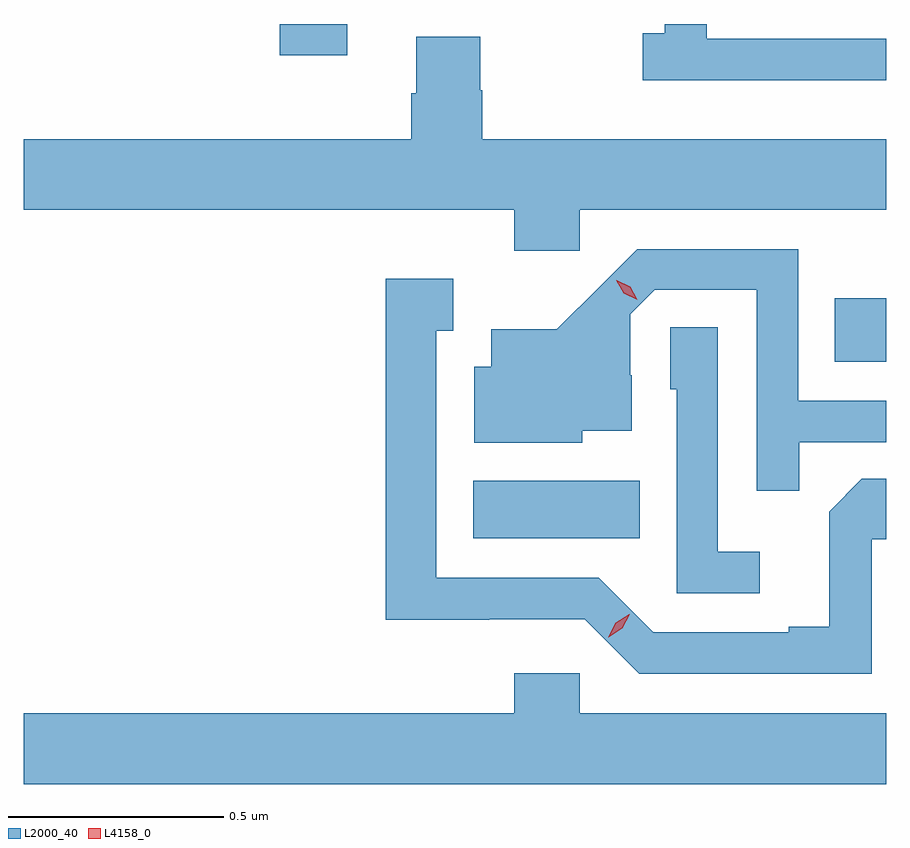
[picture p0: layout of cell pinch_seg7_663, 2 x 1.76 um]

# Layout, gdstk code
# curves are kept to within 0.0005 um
import gdstk
lib = gdstk.Library(unit=1e-6, precision=1e-09)
def R(c, l, rs):  # rectangles x0, y0, x1, y1
    for r in rs: c.add(gdstk.rectangle(r[:2], r[2:], *l))
def P(c, l, *ps):  # polygons
    for p in ps: c.add(gdstk.Polygon(p, *l))
L2000_40 = (2000, 40)
L4158_0 = (4158, 0)

pinch_seg7_663 = lib.new_cell('pinch_seg7_663')
R(pinch_seg7_663, L2000_40, [(121.163,1014.506,121.55,1014.64), (122.002,1014.915,122.121,1015.063), (120.715,1015.626,120.871,1015.699)])
P(pinch_seg7_663, L2000_40, [(122.121,1015.665),(121.705,1015.665),(121.705,1015.699),(121.608,1015.699),(121.608,1015.678),(121.557,1015.678),(121.557,1015.568),(122.121,1015.568)],
  [(121.41,1015.268),(122.121,1015.268),(122.121,1015.432),(121.184,1015.432),(121.184,1015.545),(121.179,1015.545),(121.179,1015.67),(121.031,1015.67),(121.031,1015.538),(121.019,1015.538),(121.019,1015.432),(120.121,1015.432),(120.121,1015.268),(121.259,1015.268),(121.259,1015.173),(121.41,1015.173)],
  [(121.919,1014.729),(122.121,1014.729),(122.121,1014.825),(121.917,1014.825),(121.917,1015.176),(121.544,1015.176),(121.357,1014.991),(121.205,1014.991),(121.205,1014.904),(121.166,1014.904),(121.166,1014.728),(121.416,1014.728),(121.416,1014.755),(121.531,1014.755),(121.531,1014.884),(121.527,1014.884),(121.527,1015.026),(121.584,1015.083),(121.821,1015.083),(121.821,1014.616),(121.919,1014.616)],
  [(122.088,1014.504),(122.121,1014.504),(122.121,1014.644),(122.065,1014.644),(121.989,1014.568),(121.989,1014.301),(121.895,1014.301),(121.895,1014.288),(121.581,1014.288),(121.455,1014.414),(121.078,1014.414),(121.078,1014.987),(121.117,1014.987),(121.117,1015.108),(120.96,1015.108),(120.96,1014.317),(121.2,1014.317),(121.2,1014.318),(121.422,1014.318),(121.548,1014.192),(122.088,1014.192)],
  [(121.828,1014.475),(121.731,1014.475),(121.731,1014.995),(121.62,1014.995),(121.62,1014.852),(121.635,1014.852),(121.635,1014.378),(121.828,1014.378)],
  [(122.121,1014.1),(121.41,1014.1),(121.41,1014.193),(121.259,1014.193),(121.259,1014.1),(120.121,1014.1),(120.121,1013.936),(122.121,1013.936)])
P(pinch_seg7_663, L4158_0, [(121.544,1015.059),(121.513,1015.074),(121.495,1015.104),(121.495,1015.104),(121.496,1015.104),(121.527,1015.089),(121.544,1015.059),(121.544,1015.059)],
  [(121.477,1014.277),(121.477,1014.277),(121.494,1014.31),(121.525,1014.33),(121.526,1014.33),(121.526,1014.33),(121.509,1014.297),(121.478,1014.277)])

lib.write_gds('pinch_seg7_663.gds')
